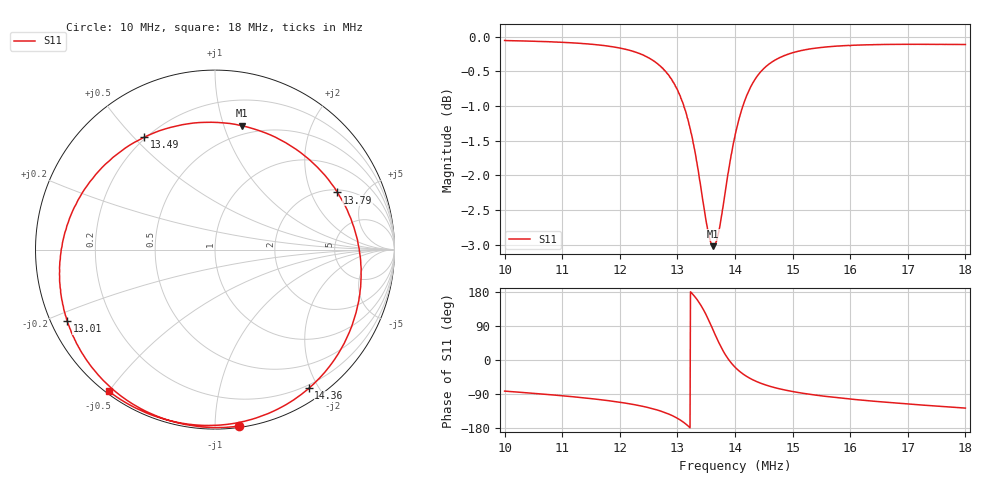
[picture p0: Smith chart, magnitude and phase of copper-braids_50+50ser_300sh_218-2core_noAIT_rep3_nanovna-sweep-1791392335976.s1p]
! NanoVNA Web complex sweep
! Processing: unaveraged complex samples; linear segment spacing; no smoothing
# Hz S RI R 50
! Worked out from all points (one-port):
!   1010 points, 10 MHz to 18 MHz, reference 50 ohm
!   lowest |S11| = -3.0 dB at 13.62 MHz (marker M1), VSWR 5.80, Z = 20.9 + j57.4 ohm
!   |S11| at or under -10 dB: nowhere
!   S11 on the Smith chart (normalised r, x): 10 MHz: 0.01, -1.15; 13.01 MHz: 0.05, -0.23; 13.49 MHz: 0.19, +0.54; 13.79 MHz: 2.14, +3.15; 14.36 MHz: 0.16, -1.87; 18 MHz: 0.01, -0.50
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1e7  0.1362 -0.9841
1.100698e7  -0.0768 -0.9875
1.156201e7  -0.2206 -0.9618
1.200604e7  -0.3614 -0.9119
1.234698e7  -0.4948 -0.8365
1.261657e7  -0.6217 -0.7296
1.282272e7  -0.7307 -0.5924
1.300509e7  -0.8232 -0.3972
1.31716e7  -0.8653 -0.1192
1.329054e7  -0.8174 0.1523
1.339361e7  -0.6645 0.4185
1.348876e7  -0.3941 0.6265
1.356012e7  -0.1188 0.7053
1.362355e7  0.148 0.6903
1.36632e7  0.3076 0.6395
1.371077e7  0.4767 0.5408
1.379006e7  0.682 0.3183
1.388521e7  0.798 0.0281
1.400414e7  0.8014 -0.2835
1.408344e7  0.7552 -0.4434
1.417065e7  0.6865 -0.5809
1.436095e7  0.5223 -0.7732
1.463054e7  0.3203 -0.9028
1.50032e7  0.1139 -0.9669
1.545515e7  -0.0641 -0.9795
1.600225e7  -0.2218 -0.9595
1.700131e7  -0.4339 -0.8867
1.800036e7  -0.5931 -0.7887
